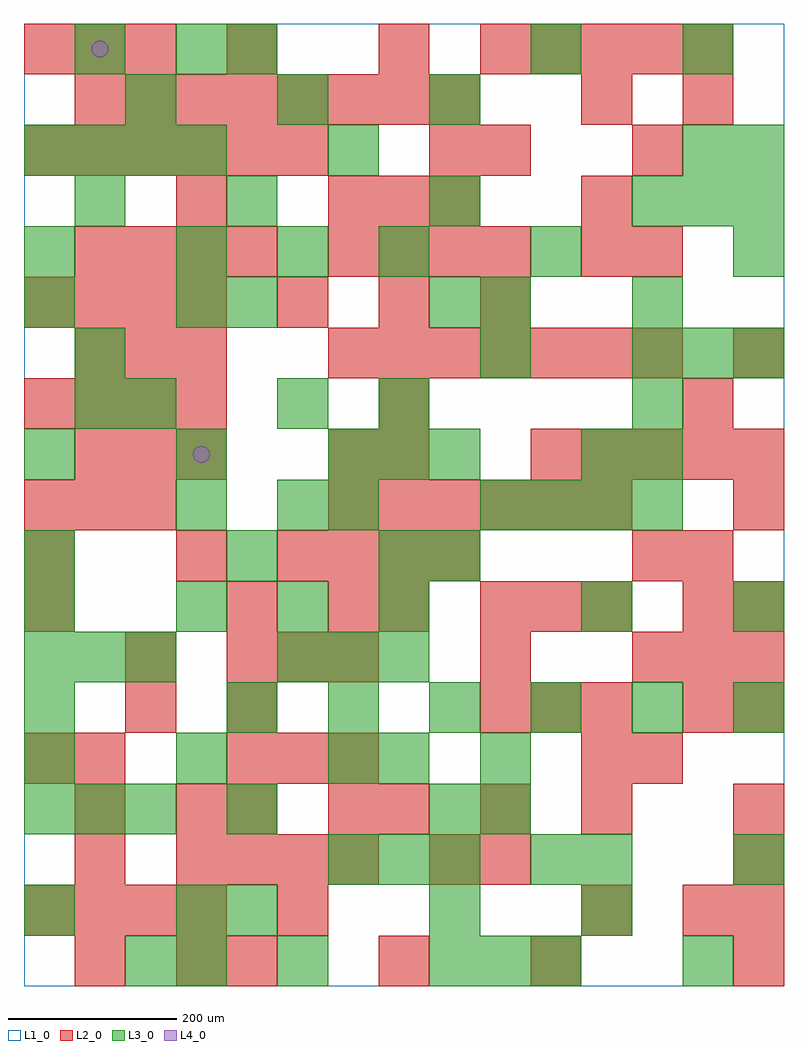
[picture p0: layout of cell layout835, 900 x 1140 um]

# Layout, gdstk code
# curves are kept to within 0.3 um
import gdstk
lib = gdstk.Library(unit=1e-6, precision=1e-09)
def R(c, l, rs):  # rectangles x0, y0, x1, y1
    for r in rs: c.add(gdstk.rectangle(r[:2], r[2:], *l))
def A(c, l, x, y, w, h, nx, ny, dx, dy):  # array of equal rectangles
    R(c, l, [(x+i*dx, y+j*dy, x+i*dx+w, y+j*dy+h) for i in range(nx) for j in range(ny)])
def P(c, l, *ps):  # polygons
    for p in ps: c.add(gdstk.Polygon(p, *l))
L1_0 = (1, 0)
L2_0 = (2, 0)
L3_0 = (3, 0)
L4_0 = (4, 0)

layout835 = lib.new_cell('layout835')
R(layout835, L1_0, [(0,0,900,1140)])
A(layout835, L2_0, 240, 0, 60, 60, 3, 1, 180, 0)
A(layout835, L2_0, 840, 0, 60, 60, 1, 4, 0, 60)
A(layout835, L2_0, 0, 60, 60, 60, 4, 2, 60, 600)
A(layout835, L2_0, 60, 120, 60, 60, 1, 3, 0, 60)
A(layout835, L2_0, 180, 120, 60, 60, 4, 1, 60, 0)
A(layout835, L2_0, 240, 180, 60, 60, 1, 3, 0, 120)
A(layout835, L2_0, 420, 180, 60, 60, 3, 1, 120, 0)
A(layout835, L2_0, 240, 240, 60, 60, 3, 2, 60, 120)
A(layout835, L2_0, 540, 300, 60, 60, 3, 2, 60, 120)
A(layout835, L2_0, 840, 300, 60, 60, 1, 3, 0, 120)
A(layout835, L2_0, 720, 360, 60, 60, 3, 1, 60, 0)
A(layout835, L2_0, 300, 480, 60, 60, 4, 1, 60, 0)
A(layout835, L2_0, 0, 540, 60, 60, 3, 2, 60, 540)
A(layout835, L2_0, 360, 540, 60, 60, 6, 1, 60, 0)
A(layout835, L2_0, 60, 600, 60, 60, 3, 2, 60, 120)
A(layout835, L2_0, 600, 600, 60, 60, 5, 1, 60, 0)
A(layout835, L2_0, 360, 720, 60, 60, 7, 1, 60, 0)
A(layout835, L2_0, 0, 780, 60, 60, 4, 1, 60, 0)
A(layout835, L2_0, 300, 780, 60, 60, 3, 1, 120, 0)
A(layout835, L2_0, 60, 840, 60, 60, 4, 1, 60, 0)
A(layout835, L2_0, 360, 840, 60, 60, 4, 1, 60, 0)
A(layout835, L2_0, 360, 900, 60, 60, 3, 1, 60, 0)
A(layout835, L2_0, 0, 960, 60, 60, 6, 1, 60, 0)
A(layout835, L2_0, 60, 1020, 60, 60, 8, 1, 60, 0)
A(layout835, L2_0, 540, 1080, 60, 60, 5, 1, 60, 0)
R(layout835, L2_0, [(60,0,120,60), (180,0,240,60), (300,60,360,120), (660,60,720,120), (780,60,840,120), (480,120,540,180), (540,120,600,180), (180,180,240,240), (360,180,420,240), (0,240,60,300), (660,240,720,300), (720,240,780,300), (120,300,180,360), (780,300,840,360), (120,360,180,420), (540,360,600,420), (0,420,60,480), (360,420,420,480), (420,420,480,480), (780,420,840,480), (0,480,60,540), (180,480,240,540), (720,480,780,540), (780,480,840,540), (360,600,420,660), (420,600,480,660), (420,660,480,720), (780,660,840,720), (840,720,900,780), (660,840,720,900), (720,840,780,900), (180,900,240,960), (660,900,720,960), (480,960,540,1020), (540,960,600,1020), (720,960,780,1020), (660,1020,720,1080), (780,1020,840,1080), (240,1080,300,1140), (420,1080,480,1140)])
A(layout835, L3_0, 480, 0, 60, 60, 3, 1, 60, 0)
A(layout835, L3_0, 360, 120, 60, 60, 3, 1, 60, 0)
A(layout835, L3_0, 0, 180, 60, 60, 3, 2, 60, 180)
A(layout835, L3_0, 240, 180, 60, 60, 1, 4, 0, 300)
A(layout835, L3_0, 0, 240, 60, 60, 3, 2, 180, 360)
A(layout835, L3_0, 240, 300, 60, 60, 6, 1, 120, 0)
A(layout835, L3_0, 300, 360, 60, 60, 3, 1, 60, 0)
A(layout835, L3_0, 180, 420, 60, 60, 3, 2, 120, 420)
A(layout835, L3_0, 540, 540, 60, 60, 4, 1, 60, 0)
A(layout835, L3_0, 60, 720, 60, 60, 1, 3, 0, 180)
A(layout835, L3_0, 720, 720, 60, 60, 3, 1, 60, 0)
A(layout835, L3_0, 840, 840, 60, 60, 1, 3, 0, 60)
A(layout835, L3_0, 240, 900, 60, 60, 3, 1, 240, 0)
A(layout835, L3_0, 0, 960, 60, 60, 4, 1, 60, 0)
A(layout835, L3_0, 120, 1020, 60, 60, 3, 1, 180, 0)
R(layout835, L3_0, [(120,0,180,60), (180,0,240,60), (300,0,360,60), (780,0,840,60), (0,60,60,120), (180,60,240,120), (240,60,300,120), (480,60,540,120), (660,60,720,120), (600,120,660,180), (660,120,720,180), (840,120,900,180), (480,180,540,240), (540,180,600,240), (420,240,480,300), (540,240,600,300), (0,300,60,360), (0,420,60,480), (660,420,720,480), (840,420,900,480), (0,480,60,540), (420,480,480,540), (480,480,540,540), (180,540,240,600), (300,540,360,600), (360,540,420,600), (420,600,480,660), (480,600,540,660), (660,600,720,660), (720,600,780,660), (60,660,120,720), (120,660,180,720), (300,660,360,720), (420,660,480,720), (720,660,780,720), (540,720,600,780), (0,780,60,840), (180,780,240,840), (480,780,540,840), (540,780,600,840), (720,780,780,840), (0,840,60,900), (600,840,660,900), (780,900,840,960), (360,960,420,1020), (780,960,840,1020), (180,1080,240,1140), (600,1080,660,1140), (780,1080,840,1140)])
P(layout835, L4_0, [(100,1110),(99.239,1113.827),(97.071,1117.071),(93.827,1119.239),(90,1120),(86.173,1119.239),(82.929,1117.071),(80.761,1113.827),(80,1110),(80.761,1106.173),(82.929,1102.929),(86.173,1100.761),(90,1100),(93.827,1100.761),(97.071,1102.929),(99.239,1106.173)],
  [(220,630),(219.239,633.827),(217.071,637.071),(213.827,639.239),(210,640),(206.173,639.239),(202.929,637.071),(200.761,633.827),(200,630),(200.761,626.173),(202.929,622.929),(206.173,620.761),(210,620),(213.827,620.761),(217.071,622.929),(219.239,626.173)])

lib.write_gds('layout835.gds')
